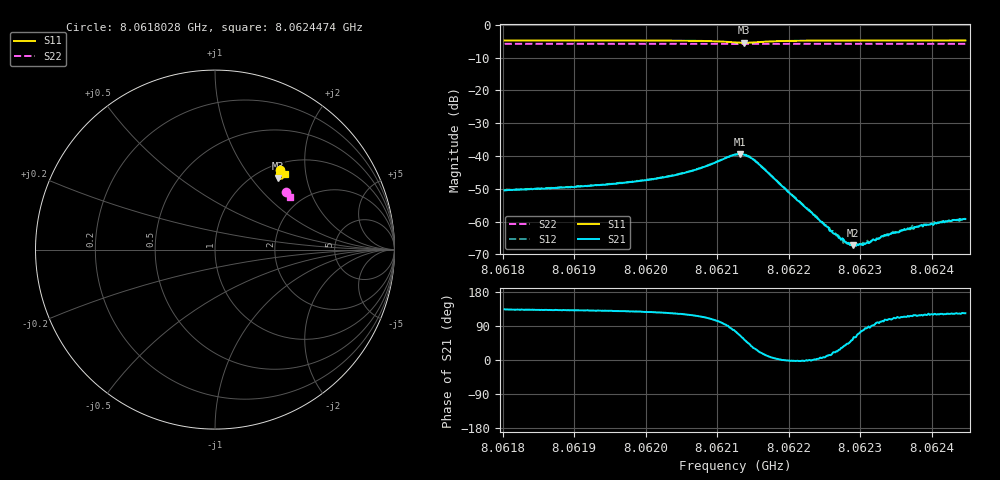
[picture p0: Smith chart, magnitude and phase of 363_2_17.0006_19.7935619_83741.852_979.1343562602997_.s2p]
#  HZ  S  RI  R  50.00
! Rohde & Schwarz Vector Network Analyzer
! Rohde-Schwarz,ZNB20-2Port,1311601062101988,3.16
! Created: UTC 3/20/2024, 11:08:19 PM
! freq[Hz]  re:S11  im:S11  re:S21  im:S21  re:S12  im:S12  re:S22  im:S22
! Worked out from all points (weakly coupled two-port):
!   401 points, 8.0618028 GHz to 8.0624474 GHz, reference 50 ohm
!   highest |S21| = -39.42 dB at 8.0621315 GHz (marker M1); lowest = -67.2 dB at 8.0622895 GHz (marker M2)
!   lowest |S11| = -5.5 dB at 8.062138 GHz (marker M3), VSWR 3.26, Z = 61.8 + j68.6 ohm
!   |S11| at or under -10 dB: nowhere
!   |S22| runs from -5.9 to -5.8 dB; largest |S21 - S12| = 0.00077
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8.06180276e9  0.3644 0.446  -0.00207 0.00216  -0.00196 0.00233  0.3971 0.3236
8.06191074e9  0.3719 0.4395  -0.00227 0.0026  -0.00213 0.00277  0.4013 0.3184
8.06197198e9  0.3764 0.435  -0.00247 0.00306  -0.00228 0.00321  0.4036 0.3151
8.06201872e9  0.3803 0.4298  -0.00267 0.00375  -0.00244 0.00392  0.4054 0.3126
8.06206707e9  0.3843 0.4206  -0.00278 0.00534  -0.00247 0.00554  0.407 0.3098
8.06212509e9  0.3665 0.3937  0.00247 0.0102  0.00306 0.0102  0.4078 0.3062
8.06213153e9  0.3582 0.3943  0.00443 0.00973  0.00495 0.00944  0.4078 0.306
8.06213798e9  0.3502 0.3987  0.00613 0.00841  0.00673 0.00823  0.4077 0.306
8.06214765e9  0.3434 0.4099  0.00744 0.00557  0.00779 0.00528  0.4078 0.3062
8.06215571e9  0.3435 0.4197  0.00717 0.00358  0.00745 0.00308  0.4082 0.3063
8.06223307e9  0.3721 0.4347  0.00136 -4.58e-06  0.00133 -7.37e-05  0.4124 0.3027
8.06226046e9  0.3766 0.433  0.000685 0.000183  0.000705 0.000156  0.4135 0.3014
8.0622798e9  0.379 0.4317  0.000379 0.000306  0.000398 0.000303  0.4142 0.3003
8.06228947e9  0.3802 0.4312  0.000261 0.000348  0.000289 0.000333  0.4146 0.2999
8.06229753e9  0.3811 0.4305  0.000157 0.000408  0.000171 0.000393  0.4148 0.2995
8.06230559e9  0.3819 0.4301  7.95e-05 0.000447  0.00013 0.000446  0.4152 0.299
8.06234104e9  0.3851 0.4279  -0.000202 0.000606  -0.000152 0.000607  0.4164 0.2971
8.06234749e9  0.3857 0.4275  -0.000245 0.000627  -0.000198 0.000659  0.4165 0.2969
8.06238295e9  0.3884 0.4253  -0.000405 0.000759  -0.000367 0.000759  0.4178 0.295
8.06240067e9  0.3897 0.4242  -0.000471 0.000788  -0.000454 0.000841  0.4186 0.294
8.06242001e9  0.3909 0.4232  -0.000521 0.000869  -0.000476 0.000869  0.4192 0.293
8.06244741e9  0.3928 0.4217  -0.000601 0.000912  -0.00055 0.000956  0.4201 0.2916
